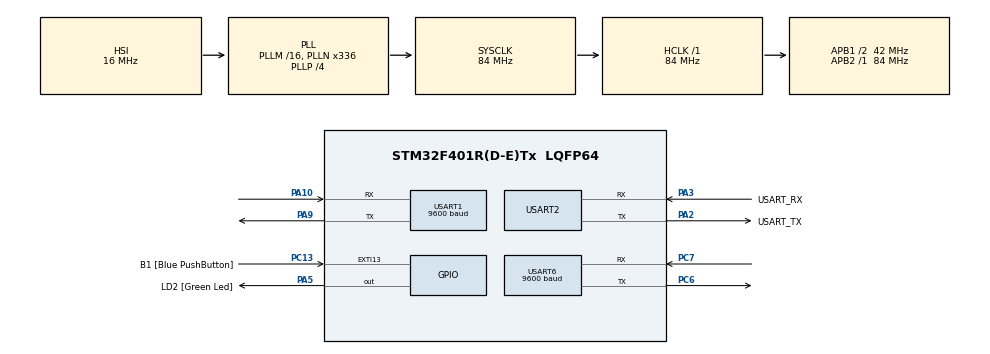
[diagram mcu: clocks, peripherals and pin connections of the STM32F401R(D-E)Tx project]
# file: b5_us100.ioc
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Mcu.Family=STM32F4
Mcu.Name=STM32F401R(D-E)Tx
Mcu.Package=LQFP64
NVIC.PriorityGroup=NVIC_PRIORITYGROUP_0
NVIC.USART1_IRQn=true\:0\:0\:false\:false\:true\:true\:true\:true
PA10.Mode=Asynchronous
PA10.Signal=USART1_RX
PA13.GPIO_Label=TMS
PA13.Mode=Serial_Wire
PA13.Signal=SYS_JTMS-SWDIO
PA14.GPIO_Label=TCK
PA14.Mode=Serial_Wire
PA14.Signal=SYS_JTCK-SWCLK
PA2.GPIO_Label=USART_TX
PA2.GPIO_Mode=GPIO_MODE_AF_PP
PA2.GPIO_PuPd=GPIO_NOPULL
PA2.GPIO_Speed=GPIO_SPEED_FREQ_LOW
PA2.Mode=Asynchronous
PA2.Signal=USART2_TX
PA3.GPIO_Label=USART_RX
PA3.GPIO_Mode=GPIO_MODE_AF_PP
PA3.GPIO_PuPd=GPIO_NOPULL
PA3.GPIO_Speed=GPIO_SPEED_FREQ_LOW
PA3.Mode=Asynchronous
PA3.Signal=USART2_RX
PA5.GPIO_Label=LD2 [Green Led]
PA5.GPIO_Mode=GPIO_MODE_OUTPUT_PP
PA5.GPIO_PuPd=GPIO_NOPULL
PA5.GPIO_Speed=GPIO_SPEED_FREQ_LOW
PA5.Signal=GPIO_Output
PA9.Mode=Asynchronous
PA9.Signal=USART1_TX
PB3.GPIO_Label=SWO
PB3.Signal=SYS_JTDO-SWO
PC13-ANTI_TAMP.GPIO_Label=B1 [Blue PushButton]
PC13-ANTI_TAMP.GPIO_ModeDefaultEXTI=GPIO_MODE_IT_FALLING
PC13-ANTI_TAMP.GPIO_PuPd=GPIO_NOPULL
PC13-ANTI_TAMP.Signal=GPXTI13
PC14-OSC32_IN.Mode=LSE-External-Oscillator
PC14-OSC32_IN.Signal=RCC_OSC32_IN
PC15-OSC32_OUT.Mode=LSE-External-Oscillator
PC15-OSC32_OUT.Signal=RCC_OSC32_OUT
PC6.Mode=Asynchronous
PC6.Signal=USART6_TX
PC7.Mode=Asynchronous
PC7.Signal=USART6_RX
PH0\ -\ OSC_IN.Mode=HSE-External-Clock-Source
PH0\ -\ OSC_IN.Signal=RCC_OSC_IN
PH1\ -\ OSC_OUT.Mode=HSE-External-Clock-Source
PH1\ -\ OSC_OUT.Signal=RCC_OSC_OUT
ProjectManager.HeapSize=0x200
ProjectManager.StackSize=0x400
ProjectManager.TargetToolchain=STM32CubeIDE
RCC.48MHZClocksFreq_Value=48000000
RCC.AHBFreq_Value=84000000
RCC.APB1CLKDivider=RCC_HCLK_DIV2
RCC.APB1Freq_Value=42000000
RCC.APB1TimFreq_Value=84000000
RCC.APB2Freq_Value=84000000
RCC.APB2TimFreq_Value=84000000
RCC.CortexFreq_Value=84000000
RCC.HCLKFreq_Value=84000000
RCC.HSE_VALUE=8000000
RCC.HSI_VALUE=16000000
RCC.PLLN=336
RCC.PLLP=RCC_PLLP_DIV4
RCC.PLLQ=7
RCC.SYSCLKFreq_VALUE=84000000
RCC.SYSCLKSource=RCC_SYSCLKSOURCE_PLLCLK
RCC.VCOOutputFreq_Value=336000000
USART1.BaudRate=9600
USART1.VirtualMode=VM_ASYNC
USART2.VirtualMode=VM_ASYNC
USART6.BaudRate=9600
USART6.VirtualMode=VM_ASYNC
board=NUCLEO-F401RE

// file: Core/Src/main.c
/* USER CODE BEGIN Header */
/**
  ******************************************************************************
  * @file           : main.c (FOR US100_TEST)
  * @brief          : Main program body
  ******************************************************************************
  * @attention
  *
  * <h2><center>&copy; Copyright (c) 2022 STMicroelectronics.
  * All rights reserved.</center></h2>
  *
  * This software component is licensed by ST under BSD 3-Clause license,
  * the "License"; You may not use this file except in compliance with the
  * License. You may obtain a copy of the License at:
  *                        opensource.org/licenses/BSD-3-Clause
  *
  ******************************************************************************
  */
/* USER CODE END Header */
#include "main.h"

/* USER CODE BEGIN Includes */
#include <string.h>
#include <stdio.h>
/* USER CODE END Includes */

/* USER CODE BEGIN PD */

/* cmd to us100 to begin distance sensing*/
uint8_t cmd_dist = {0x55};

volatile uint8_t us100_Rx_flag = 0;

/* Two bytes to store distance values received from US100 */
volatile uint8_t us100_buffer[2] = {0};

uint8_t msg_buffer[64] = {0}; // array for messages to Host Computer

volatile uint16_t distance = 0; // 16 bit distance variable for reporting

/* USER CODE END PD */

UART_HandleTypeDef huart1;
UART_HandleTypeDef huart2;
UART_HandleTypeDef huart6;

void SystemClock_Config(void);
static void MX_GPIO_Init(void);
static void MX_USART2_UART_Init(void);
static void MX_USART1_UART_Init(void);
static void MX_USART6_UART_Init(void);

/* USER CODE BEGIN 0 */
uint8_t rcv_intpt_flag = 0;

/* USER CODE END 0 */

int main(void)
{
  /* USER CODE BEGIN 1 */
//	uint8_t txd_msg_buffer[64] = {0};
  /* USER CODE END 1 */

  /* MCU Configuration--------------------------------------------------------*/

  /* Reset of all peripherals, Initializes the Flash interface and the Systick. */
  HAL_Init();

  /* Configure the system clock */
  SystemClock_Config();

  /* Initialize all configured peripherals */
  MX_GPIO_Init();
  MX_USART2_UART_Init();
  MX_USART1_UART_Init();
  MX_USART6_UART_Init();

  /* Infinite loop */
  /* USER CODE BEGIN WHILE */
  while (1)
  {

	  HAL_UART_Receive_IT(&huart1,&us100_buffer, 2); 							// get the UART Receiver ready to receive data and then generate an interrupt
      HAL_UART_Transmit(&huart1, &cmd_dist, 1, 500); 							// send out the command to the US-100 (TRIG Input)

	  while(us100_Rx_flag ==(00)) {}; 											// wait for the Flag to be set by the Interrupt Callback routine

		distance = (us100_buffer[0] << 8) + us100_buffer[1];  					// convert the two indivual byts into a single 16 bit quantity
		sprintf((char*)msg_buffer, "\r\n Distance Sensed (mm)= %d", distance); 	// set up the report content
		HAL_Delay(200); 														// this is just used to slow down the sequence (user determined)
		HAL_UART_Transmit(&huart6, msg_buffer, strlen((char*)msg_buffer), 500); // send out the report
		us100_Rx_flag = 00;														// clear the flag
   };

    /* USER CODE END WHILE */

}

void SystemClock_Config(void)
{
  RCC_OscInitTypeDef RCC_OscInitStruct = {0};
  RCC_ClkInitTypeDef RCC_ClkInitStruct = {0};

  /** Configure the main internal regulator output voltage
  */
  __HAL_RCC_PWR_CLK_ENABLE();
  __HAL_PWR_VOLTAGESCALING_CONFIG(PWR_REGULATOR_VOLTAGE_SCALE2);

  /** Initializes the RCC Oscillators according to the specified parameters
  * in the RCC_OscInitTypeDef structure.
  */
  RCC_OscInitStruct.OscillatorType = RCC_OSCILLATORTYPE_HSI;
  RCC_OscInitStruct.HSIState = RCC_HSI_ON;
  RCC_OscInitStruct.HSICalibrationValue = RCC_HSICALIBRATION_DEFAULT;
  RCC_OscInitStruct.PLL.PLLState = RCC_PLL_ON;
  RCC_OscInitStruct.PLL.PLLSource = RCC_PLLSOURCE_HSI;
  RCC_OscInitStruct.PLL.PLLM = 16;
  RCC_OscInitStruct.PLL.PLLN = 336;
  RCC_OscInitStruct.PLL.PLLP = RCC_PLLP_DIV4;
  RCC_OscInitStruct.PLL.PLLQ = 7;
  if (HAL_RCC_OscConfig(&RCC_OscInitStruct) != HAL_OK)
  {
    Error_Handler();
  }

  /** Initializes the CPU, AHB and APB buses clocks
  */
  RCC_ClkInitStruct.ClockType = RCC_CLOCKTYPE_HCLK|RCC_CLOCKTYPE_SYSCLK
                              |RCC_CLOCKTYPE_PCLK1|RCC_CLOCKTYPE_PCLK2;
  RCC_ClkInitStruct.SYSCLKSource = RCC_SYSCLKSOURCE_PLLCLK;
  RCC_ClkInitStruct.AHBCLKDivider = RCC_SYSCLK_DIV1;
  RCC_ClkInitStruct.APB1CLKDivider = RCC_HCLK_DIV2;
  RCC_ClkInitStruct.APB2CLKDivider = RCC_HCLK_DIV1;

  if (HAL_RCC_ClockConfig(&RCC_ClkInitStruct, FLASH_LATENCY_2) != HAL_OK)
  {
    Error_Handler();
  }
}

static void MX_USART1_UART_Init(void)
{

  huart1.Instance = USART1;
  huart1.Init.BaudRate = 9600;
  huart1.Init.WordLength = UART_WORDLENGTH_8B;
  huart1.Init.StopBits = UART_STOPBITS_1;
  huart1.Init.Parity = UART_PARITY_NONE;
  huart1.Init.Mode = UART_MODE_TX_RX;
  huart1.Init.HwFlowCtl = UART_HWCONTROL_NONE;
  huart1.Init.OverSampling = UART_OVERSAMPLING_16;
  if (HAL_UART_Init(&huart1) != HAL_OK)
  {
    Error_Handler();
  }

}

static void MX_USART2_UART_Init(void)
{

  huart2.Instance = USART2;
  huart2.Init.BaudRate = 115200;
  huart2.Init.WordLength = UART_WORDLENGTH_8B;
  huart2.Init.StopBits = UART_STOPBITS_1;
  huart2.Init.Parity = UART_PARITY_NONE;
  huart2.Init.Mode = UART_MODE_TX_RX;
  huart2.Init.HwFlowCtl = UART_HWCONTROL_NONE;
  huart2.Init.OverSampling = UART_OVERSAMPLING_16;
  if (HAL_UART_Init(&huart2) != HAL_OK)
  {
    Error_Handler();
  }

}

static void MX_USART6_UART_Init(void)
{

  huart6.Instance = USART6;
  huart6.Init.BaudRate = 9600;
  huart6.Init.WordLength = UART_WORDLENGTH_8B;
  huart6.Init.StopBits = UART_STOPBITS_1;
  huart6.Init.Parity = UART_PARITY_NONE;
  huart6.Init.Mode = UART_MODE_TX_RX;
  huart6.Init.HwFlowCtl = UART_HWCONTROL_NONE;
  huart6.Init.OverSampling = UART_OVERSAMPLING_16;
  if (HAL_UART_Init(&huart6) != HAL_OK)
  {
    Error_Handler();
  }

}

static void MX_GPIO_Init(void)
{
  GPIO_InitTypeDef GPIO_InitStruct = {0};

  /* GPIO Ports Clock Enable */
  __HAL_RCC_GPIOC_CLK_ENABLE();
  __HAL_RCC_GPIOH_CLK_ENABLE();
  __HAL_RCC_GPIOA_CLK_ENABLE();
  __HAL_RCC_GPIOB_CLK_ENABLE();

  /*Configure GPIO pin Output Level */
  HAL_GPIO_WritePin(LD2_GPIO_Port, LD2_Pin, GPIO_PIN_RESET);

  /*Configure GPIO pin : B1_Pin */
  GPIO_InitStruct.Pin = B1_Pin;
  GPIO_InitStruct.Mode = GPIO_MODE_IT_FALLING;
  GPIO_InitStruct.Pull = GPIO_NOPULL;
  HAL_GPIO_Init(B1_GPIO_Port, &GPIO_InitStruct);

  /*Configure GPIO pin : LD2_Pin */
  GPIO_InitStruct.Pin = LD2_Pin;
  GPIO_InitStruct.Mode = GPIO_MODE_OUTPUT_PP;
  GPIO_InitStruct.Pull = GPIO_NOPULL;
  GPIO_InitStruct.Speed = GPIO_SPEED_FREQ_LOW;
  HAL_GPIO_Init(LD2_GPIO_Port, &GPIO_InitStruct);

}

/* USER CODE BEGIN 4 */

/* This callback is called by the HAL_UART_IRQHandler when the given number of bytes are received */
void HAL_UART_RxCpltCallback(UART_HandleTypeDef *huart)
{
  if (huart->Instance == USART1)
  {
    us100_Rx_flag = 01; // this flag is set to show that an receiver interrupt has occurred
  }

}

/* USER CODE END 4 */

void Error_Handler(void)
{
  __disable_irq();
  while (1)
  {
  }
}
